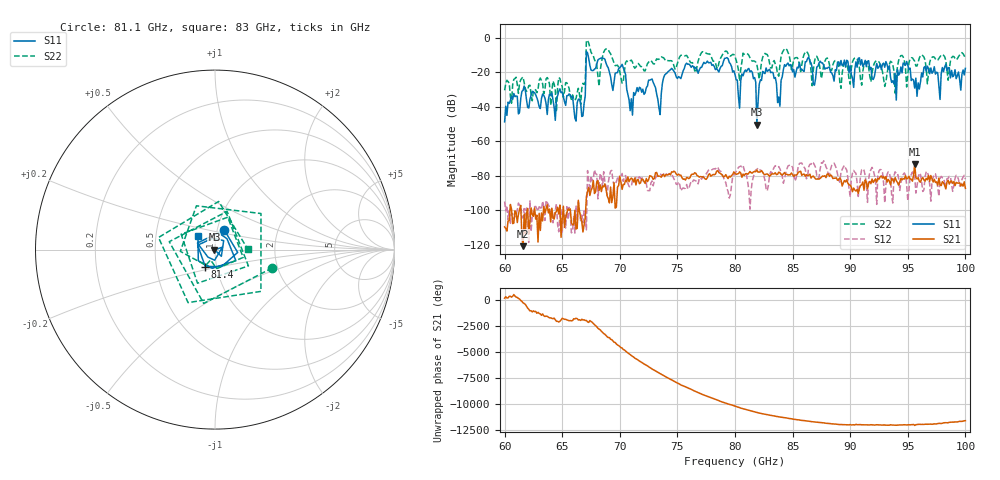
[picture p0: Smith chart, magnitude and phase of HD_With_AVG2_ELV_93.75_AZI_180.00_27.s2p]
! 11/25/2026 10:23:20 AM
! C:\ANRITSUVNA\TEMP\TEMP.S2P
! CHANNEL.1
! TR.MEASUREMENT
! RAW.DATA
# HZ S RI R 50.0
! FREQ.HZ  S11RE  S11IM  S21RE  S21IM  S12RE  S12IM  S22RE  S22IM
!; PortSelection: Port_12
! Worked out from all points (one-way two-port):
!   401 points, 60 GHz to 100 GHz, reference 50 ohm
!   highest |S21| = -73.32 dB at 95.6 GHz (marker M1); lowest = -120.7 dB at 61.6 GHz (marker M2)
!   lowest |S11| = -50.4 dB at 81.9 GHz (marker M3), VSWR 1.01, Z = 49.7 + j0.0218 ohm
!   |S11| at or under -10 dB: start of sweep to 67.09 GHz; 67.24 GHz to end of sweep
!   |S22| runs from -42.9 to -1.7 dB; largest |S21 - S12| = 0.00035
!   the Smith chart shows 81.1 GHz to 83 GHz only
!   S11 on the Smith chart (normalised r, x): 81.1 GHz: 1.08, +0.24; 81.4 GHz: 0.88, -0.17; 83 GHz: 0.82, +0.12
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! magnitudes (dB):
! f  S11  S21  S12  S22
! 60 GHz  -48.8  -109.6  -94.9  -30.5
! 61.6 GHz  -30.6  -120.7  -104.4  -22.8
! 66.7 GHz  -45.7  -106.4  -102.7  -29.5
! 67.3 GHz  -12.1  -86.7  -82.4  -3.2
! 68.4 GHz  -11.8  -89.1  -80.4  -14.7
! 68.9 GHz  -16.5  -91.7  -91.3  -6.5
! 70.3 GHz  -17.5  -84.9  -83.2  -25.5
! 70.9 GHz  -42.3  -82.0  -86.4  -13.5
! 72.7 GHz  -24.3  -80.2  -84.1  -13.3
! 73.4 GHz  -40.8  -80.2  -79.5  -12.6
! 74.4 GHz  -18.6  -79.5  -79.5  -13.4
! 80 GHz  -21.3  -78.6  -78.3  -11.0
! 81.1 GHz  -18.4  -79.1  -83.6  -9.5
! 81.4 GHz  -19.3  -78.2  -88.6  -13.0
! 81.9 GHz  -50.4  -76.7  -76.3  -15.7
! 83 GHz  -18.4  -80.3  -79.5  -14.8
! 83.8 GHz  -34.3  -77.9  -74.7  -22.4
! 84.4 GHz  -16.7  -79.1  -78.5  -6.3
! 86.7 GHz  -17.5  -80.5  -72.0  -27.9
! 93.4 GHz  -16.3  -83.1  -78.4  -15.6
! 95.6 GHz  -29.3  -73.3  -80.0  -13.7
! 100 GHz  -17.8  -87.3  -81.9  -12.1
